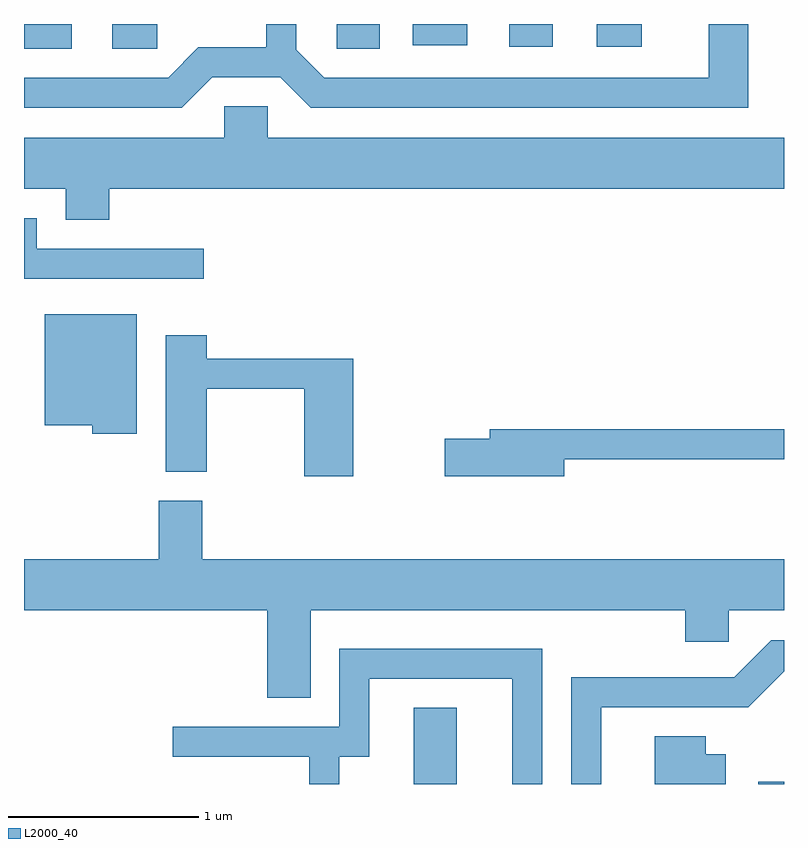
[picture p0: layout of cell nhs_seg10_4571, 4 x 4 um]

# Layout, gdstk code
import gdstk
lib = gdstk.Library(unit=1e-6, precision=1e-09)
def R(c, l, rs):  # rectangles x0, y0, x1, y1
    for r in rs: c.add(gdstk.rectangle(r[:2], r[2:], *l))
def P(c, l, *ps):  # polygons
    for p in ps: c.add(gdstk.Polygon(p, *l))
L2000_40 = (2000, 40)

nhs_seg10_4571 = lib.new_cell('nhs_seg10_4571')
R(nhs_seg10_4571, L2000_40, [(321.661,2148.522,321.889,2148.924), (323.476,2148.522,323.611,2148.533), (319.611,2152.391,319.863,2152.522), (320.076,2152.391,320.313,2152.522), (321.256,2152.391,321.484,2152.522), (322.166,2152.401,322.394,2152.522), (322.626,2152.401,322.863,2152.522), (321.656,2152.411,321.943,2152.522)])
P(nhs_seg10_4571, L2000_40, [(320.602,2152.241),(320.959,2152.241),(321.119,2152.081),(323.424,2152.081),(323.424,2152.522),(323.216,2152.522),(323.216,2152.239),(321.192,2152.239),(321.044,2152.387),(321.044,2152.522),(320.886,2152.522),(320.886,2152.399),(320.529,2152.399),(320.369,2152.239),(319.611,2152.239),(319.611,2152.081),(320.442,2152.081)],
  [(320.059,2151.656),(323.611,2151.656),(323.611,2151.924),(320.894,2151.924),(320.894,2152.089),(320.666,2152.089),(320.666,2151.924),(319.611,2151.924),(319.611,2151.656),(319.831,2151.656),(319.831,2151.491),(320.059,2151.491)],
  [(320.558,2151.339),(319.679,2151.339),(319.679,2151.499),(319.611,2151.499),(319.611,2151.181),(320.558,2151.181)],
  [(320.204,2150.994),(319.721,2150.994),(319.721,2150.411),(319.971,2150.411),(319.971,2150.366),(320.204,2150.366)],
  [(321.344,2150.759),(320.574,2150.759),(320.574,2150.884),(320.356,2150.884),(320.356,2150.166),(320.574,2150.166),(320.574,2150.601),(321.086,2150.601),(321.086,2150.141),(321.344,2150.141)],
  [(322.454,2150.231),(323.611,2150.231),(323.611,2150.389),(322.061,2150.389),(322.061,2150.339),(321.826,2150.339),(321.826,2150.141),(322.454,2150.141)],
  [(321.119,2149.436),(323.091,2149.436),(323.091,2149.271),(323.319,2149.271),(323.319,2149.436),(323.611,2149.436),(323.611,2149.704),(320.549,2149.704),(320.549,2150.014),(320.321,2150.014),(320.321,2149.704),(319.611,2149.704),(319.611,2149.436),(320.891,2149.436),(320.891,2148.976),(321.119,2148.976)],
  [(322.649,2148.926),(323.422,2148.926),(323.611,2149.115),(323.611,2149.279),(323.544,2149.279),(323.349,2149.084),(322.491,2149.084),(322.491,2148.522),(322.649,2148.522)],
  [(321.269,2148.666),(321.429,2148.666),(321.429,2149.076),(322.181,2149.076),(322.181,2148.522),(322.339,2148.522),(322.339,2149.234),(321.271,2149.234),(321.271,2148.824),(320.393,2148.824),(320.393,2148.666),(321.111,2148.666),(321.111,2148.522),(321.269,2148.522)],
  [(323.304,2148.679),(323.199,2148.679),(323.199,2148.774),(322.931,2148.774),(322.931,2148.522),(323.304,2148.522)])

lib.write_gds('nhs_seg10_4571.gds')
